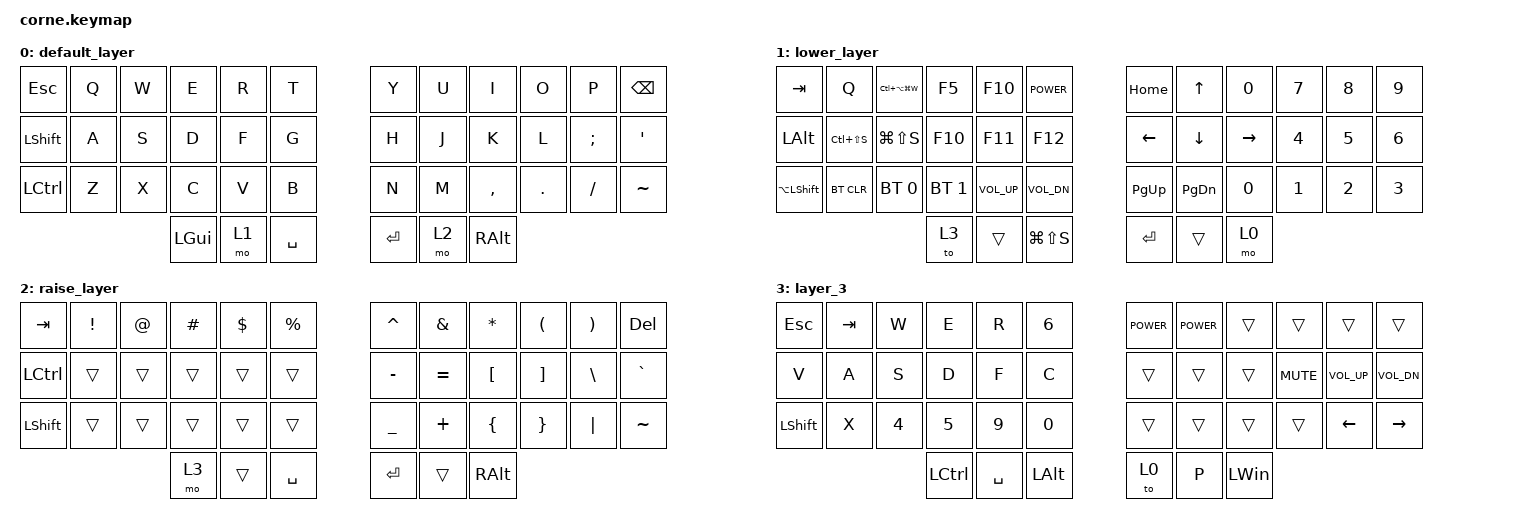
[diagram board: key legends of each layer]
/*
 * Copyright (c) 2020 The ZMK Contributors
 *
 * SPDX-License-Identifier: MIT
 */

#include <behaviors.dtsi>
#include <dt-bindings/zmk/bt.h>
#include <dt-bindings/zmk/keys.h>

&led_strip { chain-length = <27>; };

/ {
    keymap {
        compatible = "zmk,keymap";

        default_layer {
            // -----------------------------------------------------------------------------------------
            // |  TAB |  Q  |  W  |  E  |  R  |  T  |   |  Y  |  U   |  I  |  O  |  P  | BSPC |
            // | CTRL |  A  |  S  |  D  |  F  |  G  |   |  H  |  J   |  K  |  L  |  ;  |  '   |
            // | SHFT |  Z  |  X  |  C  |  V  |  B  |   |  N  |  M   |  ,  |  .  |  /  | ESC  |
            //                    | GUI | LWR | SPC |   | ENT | RSE  | ALT |

            bindings = <
&kp ESCAPE      &kp Q  &kp W  &kp E     &kp R  &kp T        &kp Y    &kp U  &kp I      &kp O    &kp P     &kp BSPC
&kp LEFT_SHIFT  &kp A  &kp S  &kp D     &kp F  &kp G        &kp H    &kp J  &kp K      &kp L    &kp SEMI  &kp SQT
&kp LCTRL       &kp Z  &kp X  &kp C     &kp V  &kp B        &kp N    &kp M  &kp COMMA  &kp DOT  &kp FSLH  &kp TILDE
                              &kp LGUI  &mo 1  &kp SPACE    &kp RET  &mo 2  &kp RALT
            >;
        };

        lower_layer {
            // -----------------------------------------------------------------------------------------
            // |  TAB |  1  |  2  |  3  |  4  |  5  |   |  6  |  7  |  8  |  9  |  0  | BSPC |
            // | BTCLR| BT1 | BT2 | BT3 | BT4 | BT5 |   | LFT | DWN |  UP | RGT |     |      |
            // | SHFT |     |     |     |     |     |   |     |     |     |     |     |      |
            //                    | GUI |     | SPC |   | ENT |     | ALT |

            bindings = <
&kp TAB        &kp Q          &kp LC(LA(LG(W)))  &kp F5        &kp F10          &kp C_POWER      &kp HOME        &kp UP_ARROW    &kp NUMBER_0     &kp NUMBER_7  &kp N8        &kp NUMBER_9
&kp LEFT_ALT   &kp LC(LS(S))  &kp LG(LS(S))      &kp F10       &kp F11          &kp F12          &kp LEFT_ARROW  &kp DOWN_ARROW  &kp RIGHT_ARROW  &kp NUMBER_4  &kp N5        &kp NUMBER_6
&kp LA(LSHFT)  &bt BT_CLR     &bt BT_SEL 0       &bt BT_SEL 1  &kp C_VOLUME_UP  &kp C_VOL_DN     &kp PG_UP       &kp PAGE_DOWN   &kp NUMBER_0     &kp NUMBER_1  &kp NUMBER_2  &kp NUMBER_3
                                                 &to 3         &trans           &kp LG(LS(S))    &kp RET         &trans          &mo 0
            >;
        };

        raise_layer {
            // -----------------------------------------------------------------------------------------
            // |  TAB |  !  |  @  |  #  |  $  |  %  |   |  ^  |  &  |  *  |  (  |  )  | BSPC |
            // | CTRL |     |     |     |     |     |   |  -  |  =  |  [  |  ]  |  \  |  `   |
            // | SHFT |     |     |     |     |     |   |  _  |  +  |  {  |  }  | "|" |  ~   |
            //                    | GUI |     | SPC |   | ENT |     | ALT |

            bindings = <
&kp TAB    &kp EXCL  &kp AT  &kp HASH  &kp DLLR  &kp PRCNT    &kp CARET  &kp AMPS   &kp ASTRK  &kp LPAR  &kp RPAR  &kp DELETE
&kp LCTRL  &trans    &trans  &trans    &trans    &trans       &kp MINUS  &kp EQUAL  &kp LBKT   &kp RBKT  &kp BSLH  &kp GRAVE
&kp LSHFT  &trans    &trans  &trans    &trans    &trans       &kp UNDER  &kp PLUS   &kp LBRC   &kp RBRC  &kp PIPE  &kp TILDE
                             &mo 3     &trans    &kp SPACE    &kp RET    &trans     &kp RALT
            >;
        };

        layer_3 {
            bindings = <
&kp ESC         &kp TAB  &kp W         &kp E         &kp R         &kp NUMBER_6    &kp K_POWER  &kp C_POWER  &trans        &trans      &trans           &trans
&kp V           &kp A    &kp S         &kp D         &kp F         &kp C           &trans       &trans       &trans        &kp K_MUTE  &kp C_VOLUME_UP  &kp C_VOL_DN
&kp LEFT_SHIFT  &kp X    &kp NUMBER_4  &kp NUMBER_5  &kp NUMBER_9  &kp NUMBER_0    &trans       &trans       &trans        &trans      &kp LEFT         &kp RIGHT
                                       &kp LCTRL     &kp SPACE     &kp LEFT_ALT    &to 0        &kp P        &kp LEFT_WIN
            >;
        };
    };
};
